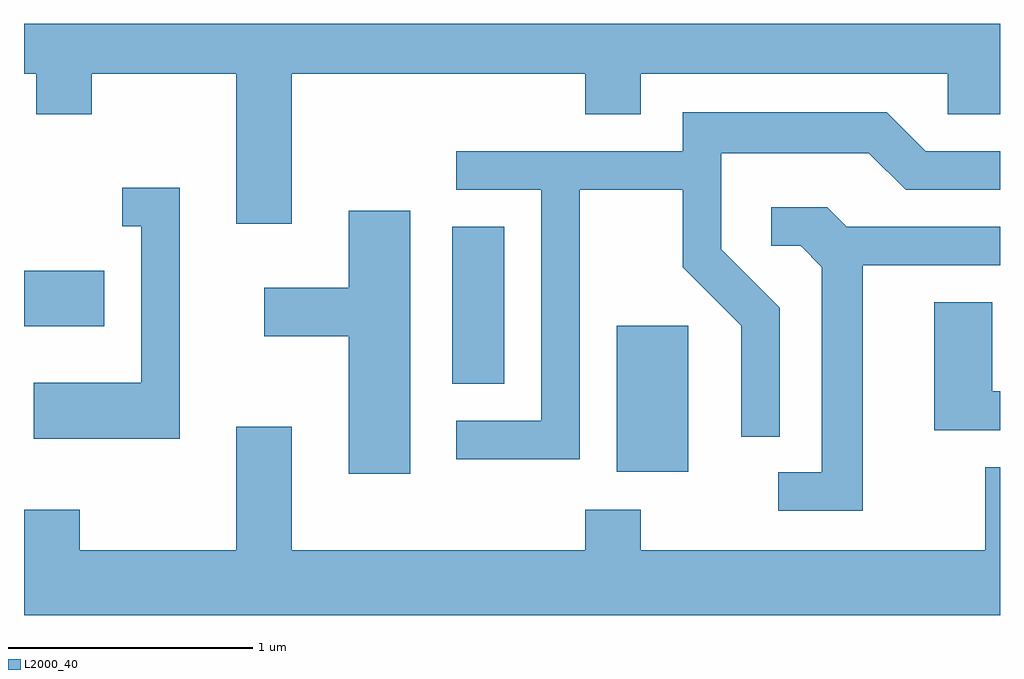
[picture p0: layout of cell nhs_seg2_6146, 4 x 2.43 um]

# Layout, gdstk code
import gdstk
lib = gdstk.Library(unit=1e-6, precision=1e-09)
def R(c, l, rs):  # rectangles x0, y0, x1, y1
    for r in rs: c.add(gdstk.rectangle(r[:2], r[2:], *l))
def P(c, l, *ps):  # polygons
    for p in ps: c.add(gdstk.Polygon(p, *l))
L2000_40 = (2000, 40)

nhs_seg2_6146 = lib.new_cell('nhs_seg2_6146')
R(nhs_seg2_6146, L2000_40, [(368.041,1099.966,368.334,1100.564), (367.366,1100.326,367.579,1100.969), (365.611,1100.561,365.939,1100.789)])
P(nhs_seg2_6146, L2000_40, [(366.709,1101.596),(367.911,1101.596),(367.911,1101.431),(368.139,1101.431),(368.139,1101.596),(369.396,1101.596),(369.396,1101.431),(369.611,1101.431),(369.611,1101.802),(365.611,1101.802),(365.611,1101.596),(365.661,1101.596),(365.661,1101.431),(365.889,1101.431),(365.889,1101.596),(366.481,1101.596),(366.481,1100.981),(366.709,1100.981)],
  [(367.889,1101.121),(368.311,1101.121),(368.311,1100.804),(368.551,1100.564),(368.551,1100.108),(368.709,1100.108),(368.709,1100.637),(368.469,1100.877),(368.469,1101.271),(369.074,1101.271),(369.224,1101.121),(369.611,1101.121),(369.611,1101.279),(369.307,1101.279),(369.147,1101.439),(368.311,1101.439),(368.311,1101.279),(367.383,1101.279),(367.383,1101.121),(367.731,1101.121),(367.731,1100.174),(367.383,1100.174),(367.383,1100.016),(367.889,1100.016)],
  [(366.249,1101.129),(366.013,1101.129),(366.013,1100.971),(366.091,1100.971),(366.091,1100.329),(365.651,1100.329),(365.651,1100.101),(366.249,1100.101)],
  [(369.049,1100.811),(369.611,1100.811),(369.611,1100.969),(368.982,1100.969),(368.902,1101.049),(368.673,1101.049),(368.673,1100.891),(368.794,1100.891),(368.881,1100.804),(368.881,1099.964),(368.703,1099.964),(368.703,1099.806),(369.049,1099.806)],
  [(367.194,1101.034),(366.941,1101.034),(366.941,1100.719),(366.596,1100.719),(366.596,1100.521),(366.941,1100.521),(366.941,1099.956),(367.194,1099.956)],
  [(369.611,1100.294),(369.579,1100.294),(369.579,1100.659),(369.341,1100.659),(369.341,1100.136),(369.611,1100.136)],
  [(369.611,1099.984),(369.551,1099.984),(369.551,1099.644),(368.139,1099.644),(368.139,1099.809),(367.911,1099.809),(367.911,1099.644),(366.709,1099.644),(366.709,1100.149),(366.481,1100.149),(366.481,1099.644),(365.839,1099.644),(365.839,1099.809),(365.611,1099.809),(365.611,1099.376),(369.611,1099.376)])

lib.write_gds('nhs_seg2_6146.gds')
